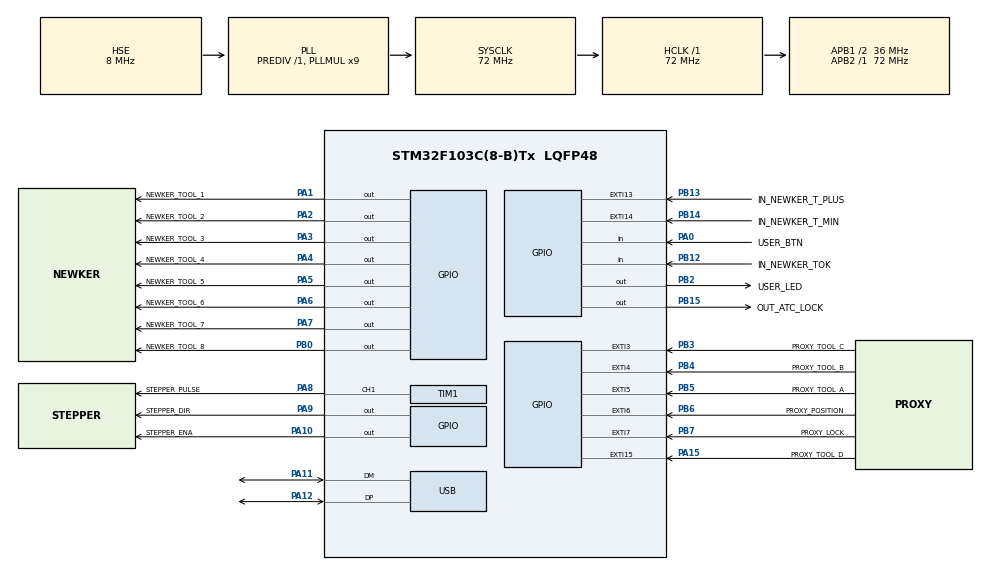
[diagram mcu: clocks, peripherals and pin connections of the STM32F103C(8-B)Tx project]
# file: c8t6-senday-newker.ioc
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Mcu.Family=STM32F1
Mcu.Name=STM32F103C(8-B)Tx
Mcu.Package=LQFP48
NVIC.EXTI15_10_IRQn=true\:0\:0\:false\:false\:true\:true\:true\:true
NVIC.EXTI3_IRQn=true\:0\:0\:false\:false\:true\:true\:true\:true
NVIC.EXTI4_IRQn=true\:0\:0\:false\:false\:true\:true\:true\:true
NVIC.EXTI9_5_IRQn=true\:0\:0\:false\:false\:true\:true\:true\:true
NVIC.PriorityGroup=NVIC_PRIORITYGROUP_4
NVIC.TIM4_IRQn=true\:15\:0\:false\:false\:true\:false\:true\:true
NVIC.TimeBase=TIM4_IRQn
NVIC.TimeBaseIP=TIM4
NVIC.USB_LP_CAN1_RX0_IRQn=true\:0\:0\:false\:false\:true\:false\:true\:true
PA0-WKUP.GPIO_Label=USER_BTN
PA0-WKUP.GPIO_PuPd=GPIO_PULLDOWN
PA0-WKUP.Signal=GPIO_Input
PA1.GPIO_Label=NEWKER_TOOL_1
PA1.Signal=GPIO_Output
PA10.GPIO_Label=STEPPER_ENA
PA10.Signal=GPIO_Output
PA11.Mode=Device
PA11.Signal=USB_DM
PA12.Mode=Device
PA12.Signal=USB_DP
PA13.Mode=Serial_Wire
PA13.Signal=SYS_JTMS-SWDIO
PA14.Mode=Serial_Wire
PA14.Signal=SYS_JTCK-SWCLK
PA15.GPIO_Label=PROXY_TOOL_D
PA15.GPIO_ModeDefaultEXTI=GPIO_MODE_IT_RISING_FALLING
PA15.GPIO_PuPd=GPIO_PULLUP
PA15.Signal=GPXTI15
PA2.GPIO_Label=NEWKER_TOOL_2
PA2.Signal=GPIO_Output
PA3.GPIO_Label=NEWKER_TOOL_3
PA3.Signal=GPIO_Output
PA4.GPIO_Label=NEWKER_TOOL_4
PA4.Signal=GPIO_Output
PA5.GPIO_Label=NEWKER_TOOL_5
PA5.Signal=GPIO_Output
PA6.GPIO_Label=NEWKER_TOOL_6
PA6.Signal=GPIO_Output
PA7.GPIO_Label=NEWKER_TOOL_7
PA7.Signal=GPIO_Output
PA8.GPIO_Label=STEPPER_PULSE
PA8.Signal=S_TIM1_CH1
PA9.GPIO_Label=STEPPER_DIR
PA9.Signal=GPIO_Output
PB0.GPIO_Label=NEWKER_TOOL_8
PB0.Signal=GPIO_Output
PB12.GPIO_Label=IN_NEWKER_TOK
PB12.GPIO_PuPd=GPIO_PULLUP
PB12.Signal=GPIO_Input
PB13.GPIO_Label=IN_NEWKER_T_PLUS
PB13.GPIO_ModeDefaultEXTI=GPIO_MODE_IT_RISING_FALLING
PB13.GPIO_PuPd=GPIO_PULLUP
PB13.Signal=GPXTI13
PB14.GPIO_Label=IN_NEWKER_T_MIN
PB14.GPIO_ModeDefaultEXTI=GPIO_MODE_IT_RISING_FALLING
PB14.GPIO_PuPd=GPIO_PULLUP
PB14.Signal=GPXTI14
PB15.GPIO_Label=OUT_ATC_LOCK
PB15.Signal=GPIO_Output
PB2.GPIO_Label=USER_LED
PB2.Signal=GPIO_Output
PB3.GPIO_Label=PROXY_TOOL_C
PB3.GPIO_ModeDefaultEXTI=GPIO_MODE_IT_RISING_FALLING
PB3.GPIO_PuPd=GPIO_PULLUP
PB3.Signal=GPXTI3
PB4.GPIO_Label=PROXY_TOOL_B
PB4.GPIO_ModeDefaultEXTI=GPIO_MODE_IT_RISING_FALLING
PB4.GPIO_PuPd=GPIO_PULLUP
PB4.Signal=GPXTI4
PB5.GPIO_Label=PROXY_TOOL_A
PB5.GPIO_ModeDefaultEXTI=GPIO_MODE_IT_RISING_FALLING
PB5.GPIO_PuPd=GPIO_PULLUP
PB5.Signal=GPXTI5
PB6.GPIO_Label=PROXY_POSITION
PB6.GPIO_ModeDefaultEXTI=GPIO_MODE_IT_RISING_FALLING
PB6.GPIO_PuPd=GPIO_PULLUP
PB6.Signal=GPXTI6
PB7.GPIO_Label=PROXY_LOCK
PB7.GPIO_ModeDefaultEXTI=GPIO_MODE_IT_RISING_FALLING
PB7.GPIO_PuPd=GPIO_PULLUP
PB7.Signal=GPXTI7
PC14-OSC32_IN.Mode=LSE-External-Oscillator
PC14-OSC32_IN.Signal=RCC_OSC32_IN
PC15-OSC32_OUT.Mode=LSE-External-Oscillator
PC15-OSC32_OUT.Signal=RCC_OSC32_OUT
PD0-OSC_IN.Mode=HSE-External-Oscillator
PD0-OSC_IN.Signal=RCC_OSC_IN
PD1-OSC_OUT.Mode=HSE-External-Oscillator
PD1-OSC_OUT.Signal=RCC_OSC_OUT
ProjectManager.HeapSize=0x200
ProjectManager.StackSize=0x400
ProjectManager.TargetToolchain=STM32CubeIDE
RCC.AHBFreq_Value=72000000
RCC.APB1CLKDivider=RCC_HCLK_DIV2
RCC.APB1Freq_Value=36000000
RCC.APB1TimFreq_Value=72000000
RCC.APB2Freq_Value=72000000
RCC.APB2TimFreq_Value=72000000
RCC.HCLKFreq_Value=72000000
RCC.PLLMUL=RCC_PLL_MUL9
RCC.SYSCLKFreq_VALUE=72000000
RCC.SYSCLKSource=RCC_SYSCLKSOURCE_PLLCLK
RCC.USBFreq_Value=48000000
RCC.USBPrescaler=RCC_USBCLKSOURCE_PLL_DIV1_5
SH.S_TIM1_CH1.0=TIM1_CH1,PWM Generation1 CH1
TIM1.AutoReloadPreload=TIM_AUTORELOAD_PRELOAD_ENABLE
TIM1.Channel-PWM\ Generation1\ CH1=TIM_CHANNEL_1
USB_DEVICE.CLASS_NAME_FS=CDC
USB_DEVICE.VirtualMode=Cdc
USB_DEVICE.VirtualModeFS=Cdc_FS
VP_SYS_VS_tim4.Mode=TIM4
VP_TIM1_VS_ClockSourceINT.Mode=Internal
VP_USB_DEVICE_VS_USB_DEVICE_CDC_FS.Mode=CDC_FS
board=custom

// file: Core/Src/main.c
/* USER CODE BEGIN Header */
/**
 ******************************************************************************
 * @file           : main.c
 * @brief          : Main program body
 ******************************************************************************
 * @attention
 *
 * Copyright (c) 2025 STMicroelectronics.
 * All rights reserved.
 *
 * This software is licensed under terms that can be found in the LICENSE file
 * in the root directory of this software component.
 * If no LICENSE file comes with this software, it is provided AS-IS.
 *
 ******************************************************************************
 */
/* USER CODE END Header */
#include "main.h"
#include "usb_device.h"

/* USER CODE BEGIN Includes */
#include <stdio.h>
#include <string.h>
#include <stdlib.h>
#include <stdbool.h>
#include <math.h>
#include <ctype.h>
#include "usbd_cdc_if.h" // Untuk CDC_Transmit_FS
/* USER CODE END Includes */

TIM_HandleTypeDef htim1;

/* USER CODE BEGIN PV */
// --- Variabel Global untuk Super-loop dan State Machine ---
// Variabel status global ATC
volatile ATCLockState_t g_atc_lock_status = ATC_LOCKED;
volatile uint8_t g_current_tool = 0;
volatile uint8_t g_target_tool = 0; // Untuk perintah 'Go to Tool'
uint8_t g_new_tool_pos;

// Variabel untuk State Machine
volatile ATC_State_t g_atc_state = ATC_STATE_IDLE;
volatile ATCRotationDirection_t g_rotation_command = ATC_NO_ROTATION;
uint32_t g_timeout_start_tick = 0;
static uint32_t pause_start_tick = 0;
static bool is_paused = false;

// Event flags dari ISR (menggantikan Semaphores)
volatile bool g_lock_event = false;
volatile bool g_position_event = false;
volatile bool g_tool_change_event = false;
uint8_t g_manual_atc = false;

/* USER CODE END PV */

void SystemClock_Config(void);
static void MX_GPIO_Init(void);
static void MX_TIM1_Init(void);
/* USER CODE BEGIN PFP */
// Fungsi-fungsi untuk ATC
static void ATC_Start_Rotation_PWM(uint16_t frequency_hz);
static void ATC_Stop_Rotation_PWM(void);
static GPIO_PinState Read_Input_Pin(GPIO_TypeDef *GPIOx, uint16_t GPIO_Pin);
static void Write_Output_Pin(GPIO_TypeDef *GPIOx, uint16_t GPIO_Pin,
                             GPIO_PinState PinState);
static uint8_t Read_Tool_Position(void);
static void Poll_Tool_Position(void);
static void Update_Newker_Tool_Output(uint8_t tool_number);
static ATCLockState_t Get_Lock_Status(void);
void ATC_Process_StateMachine(void);
/* USER CODE END PFP */

/* USER CODE BEGIN 0 */
int _write(int file, char *ptr, int len)
{
  CDC_Transmit_FS((uint8_t *)ptr, len);
  return len;
}
/* USER CODE END 0 */

int main(void)
{

  /* MCU Configuration--------------------------------------------------------*/

  /* Reset of all peripherals, Initializes the Flash interface and the Systick. */
  HAL_Init();

  /* Configure the system clock */
  SystemClock_Config();

  /* Initialize all configured peripherals */
  MX_GPIO_Init();
  MX_USB_DEVICE_Init();
  MX_TIM1_Init();
  /* USER CODE BEGIN 2 */
  HAL_Delay(1000); // Tunda sejenak agar USB siap

  Settings_Init(); // Inisialisasi pengaturan dari Flash atau gunakan default

  printf("\r\nATC Controller Ready (Super-Loop).\r\n");
  printf("Kirim '$$' untuk melihat pengaturan, '$P' untuk pinout.\r\n");

  g_atc_lock_status = Get_Lock_Status();
  g_current_tool = Read_Tool_Position();
  Update_Newker_Tool_Output(g_current_tool);
  printf("Initial state: Lock=%s, Tool=%d\r\n",
         (g_atc_lock_status == ATC_LOCKED) ? "LOCKED" : "UNLOCKED",
         g_current_tool);
  /* USER CODE END 2 */

  /* Infinite loop */
  /* USER CODE BEGIN WHILE */
  while (1)
  {
    ATC_Process_StateMachine();

    // Jalankan polling posisi tool hanya saat sistem IDLE
    if (g_atc_state == ATC_STATE_IDLE)
    {
      Poll_Tool_Position();
    }
    /* USER CODE END WHILE */

  }
}

void SystemClock_Config(void)
{
  RCC_OscInitTypeDef RCC_OscInitStruct = {0};
  RCC_ClkInitTypeDef RCC_ClkInitStruct = {0};
  RCC_PeriphCLKInitTypeDef PeriphClkInit = {0};

  /** Initializes the RCC Oscillators according to the specified parameters
   * in the RCC_OscInitTypeDef structure.
   */
  RCC_OscInitStruct.OscillatorType = RCC_OSCILLATORTYPE_HSE;
  RCC_OscInitStruct.HSEState = RCC_HSE_ON;
  RCC_OscInitStruct.HSEPredivValue = RCC_HSE_PREDIV_DIV1;
  RCC_OscInitStruct.HSIState = RCC_HSI_ON;
  RCC_OscInitStruct.PLL.PLLState = RCC_PLL_ON;
  RCC_OscInitStruct.PLL.PLLSource = RCC_PLLSOURCE_HSE;
  RCC_OscInitStruct.PLL.PLLMUL = RCC_PLL_MUL9;
  if (HAL_RCC_OscConfig(&RCC_OscInitStruct) != HAL_OK)
  {
    Error_Handler();
  }

  /** Initializes the CPU, AHB and APB buses clocks
   */
  RCC_ClkInitStruct.ClockType = RCC_CLOCKTYPE_HCLK | RCC_CLOCKTYPE_SYSCLK | RCC_CLOCKTYPE_PCLK1 | RCC_CLOCKTYPE_PCLK2;
  RCC_ClkInitStruct.SYSCLKSource = RCC_SYSCLKSOURCE_PLLCLK;
  RCC_ClkInitStruct.AHBCLKDivider = RCC_SYSCLK_DIV1;
  RCC_ClkInitStruct.APB1CLKDivider = RCC_HCLK_DIV2;
  RCC_ClkInitStruct.APB2CLKDivider = RCC_HCLK_DIV1;

  if (HAL_RCC_ClockConfig(&RCC_ClkInitStruct, FLASH_LATENCY_2) != HAL_OK)
  {
    Error_Handler();
  }
  PeriphClkInit.PeriphClockSelection = RCC_PERIPHCLK_USB;
  PeriphClkInit.UsbClockSelection = RCC_USBCLKSOURCE_PLL_DIV1_5;
  if (HAL_RCCEx_PeriphCLKConfig(&PeriphClkInit) != HAL_OK)
  {
    Error_Handler();
  }
}

static void MX_TIM1_Init(void)
{

  TIM_ClockConfigTypeDef sClockSourceConfig = {0};
  TIM_MasterConfigTypeDef sMasterConfig = {0};
  TIM_OC_InitTypeDef sConfigOC = {0};
  TIM_BreakDeadTimeConfigTypeDef sBreakDeadTimeConfig = {0};

  htim1.Instance = TIM1;
  htim1.Init.Prescaler = 0;
  htim1.Init.CounterMode = TIM_COUNTERMODE_UP;
  htim1.Init.Period = 65535;
  htim1.Init.ClockDivision = TIM_CLOCKDIVISION_DIV1;
  htim1.Init.RepetitionCounter = 0;
  htim1.Init.AutoReloadPreload = TIM_AUTORELOAD_PRELOAD_ENABLE;
  if (HAL_TIM_Base_Init(&htim1) != HAL_OK)
  {
    Error_Handler();
  }
  sClockSourceConfig.ClockSource = TIM_CLOCKSOURCE_INTERNAL;
  if (HAL_TIM_ConfigClockSource(&htim1, &sClockSourceConfig) != HAL_OK)
  {
    Error_Handler();
  }
  if (HAL_TIM_PWM_Init(&htim1) != HAL_OK)
  {
    Error_Handler();
  }
  sMasterConfig.MasterOutputTrigger = TIM_TRGO_RESET;
  sMasterConfig.MasterSlaveMode = TIM_MASTERSLAVEMODE_DISABLE;
  if (HAL_TIMEx_MasterConfigSynchronization(&htim1, &sMasterConfig) != HAL_OK)
  {
    Error_Handler();
  }
  sConfigOC.OCMode = TIM_OCMODE_PWM1;
  sConfigOC.Pulse = 0;
  sConfigOC.OCPolarity = TIM_OCPOLARITY_HIGH;
  sConfigOC.OCNPolarity = TIM_OCNPOLARITY_HIGH;
  sConfigOC.OCFastMode = TIM_OCFAST_DISABLE;
  sConfigOC.OCIdleState = TIM_OCIDLESTATE_RESET;
  sConfigOC.OCNIdleState = TIM_OCNIDLESTATE_RESET;
  if (HAL_TIM_PWM_ConfigChannel(&htim1, &sConfigOC, TIM_CHANNEL_1) != HAL_OK)
  {
    Error_Handler();
  }
  sBreakDeadTimeConfig.OffStateRunMode = TIM_OSSR_DISABLE;
  sBreakDeadTimeConfig.OffStateIDLEMode = TIM_OSSI_DISABLE;
  sBreakDeadTimeConfig.LockLevel = TIM_LOCKLEVEL_OFF;
  sBreakDeadTimeConfig.DeadTime = 0;
  sBreakDeadTimeConfig.BreakState = TIM_BREAK_DISABLE;
  sBreakDeadTimeConfig.BreakPolarity = TIM_BREAKPOLARITY_HIGH;
  sBreakDeadTimeConfig.AutomaticOutput = TIM_AUTOMATICOUTPUT_DISABLE;
  if (HAL_TIMEx_ConfigBreakDeadTime(&htim1, &sBreakDeadTimeConfig) != HAL_OK)
  {
    Error_Handler();
  }
  HAL_TIM_MspPostInit(&htim1);
}

static void MX_GPIO_Init(void)
{
  GPIO_InitTypeDef GPIO_InitStruct = {0};

  /* GPIO Ports Clock Enable */
  __HAL_RCC_GPIOC_CLK_ENABLE();
  __HAL_RCC_GPIOD_CLK_ENABLE();
  __HAL_RCC_GPIOA_CLK_ENABLE();
  __HAL_RCC_GPIOB_CLK_ENABLE();

  /*Configure GPIO pin Output Level */
  HAL_GPIO_WritePin(GPIOA,
                    NEWKER_TOOL_1_Pin | NEWKER_TOOL_2_Pin | NEWKER_TOOL_3_Pin | NEWKER_TOOL_4_Pin | NEWKER_TOOL_5_Pin | NEWKER_TOOL_6_Pin | NEWKER_TOOL_7_Pin | STEPPER_DIR_Pin | STEPPER_ENA_Pin,
                    GPIO_PIN_RESET);

  /*Configure GPIO pin Output Level */
  HAL_GPIO_WritePin(GPIOB,
                    NEWKER_TOOL_8_Pin | USER_LED_Pin | OUT_ATC_LOCK_Pin, GPIO_PIN_RESET);

  /*Configure GPIO pin : USER_BTN_Pin */
  GPIO_InitStruct.Pin = USER_BTN_Pin;
  GPIO_InitStruct.Mode = GPIO_MODE_INPUT;
  GPIO_InitStruct.Pull = GPIO_PULLDOWN;
  HAL_GPIO_Init(USER_BTN_GPIO_Port, &GPIO_InitStruct);

  /*Configure GPIO pins : NEWKER_TOOL_1_Pin NEWKER_TOOL_2_Pin NEWKER_TOOL_3_Pin NEWKER_TOOL_4_Pin
   NEWKER_TOOL_5_Pin NEWKER_TOOL_6_Pin NEWKER_TOOL_7_Pin STEPPER_DIR_Pin
   STEPPER_ENA_Pin */
  GPIO_InitStruct.Pin = NEWKER_TOOL_1_Pin | NEWKER_TOOL_2_Pin | NEWKER_TOOL_3_Pin | NEWKER_TOOL_4_Pin | NEWKER_TOOL_5_Pin | NEWKER_TOOL_6_Pin | NEWKER_TOOL_7_Pin | STEPPER_DIR_Pin | STEPPER_ENA_Pin;
  GPIO_InitStruct.Mode = GPIO_MODE_OUTPUT_PP;
  GPIO_InitStruct.Pull = GPIO_NOPULL;
  GPIO_InitStruct.Speed = GPIO_SPEED_FREQ_LOW;
  HAL_GPIO_Init(GPIOA, &GPIO_InitStruct);

  /*Configure GPIO pins : NEWKER_TOOL_8_Pin USER_LED_Pin OUT_ATC_LOCK_Pin */
  GPIO_InitStruct.Pin = NEWKER_TOOL_8_Pin | USER_LED_Pin | OUT_ATC_LOCK_Pin;
  GPIO_InitStruct.Mode = GPIO_MODE_OUTPUT_PP;
  GPIO_InitStruct.Pull = GPIO_NOPULL;
  GPIO_InitStruct.Speed = GPIO_SPEED_FREQ_LOW;
  HAL_GPIO_Init(GPIOB, &GPIO_InitStruct);

  /*Configure GPIO pin : IN_NEWKER_TOK_Pin */
  GPIO_InitStruct.Pin = IN_NEWKER_TOK_Pin;
  GPIO_InitStruct.Mode = GPIO_MODE_INPUT;
  GPIO_InitStruct.Pull = GPIO_PULLUP;
  HAL_GPIO_Init(IN_NEWKER_TOK_GPIO_Port, &GPIO_InitStruct);

  /*Configure GPIO pins : IN_NEWKER_T_PLUS_Pin IN_NEWKER_T_MIN_Pin PROXY_TOOL_C_Pin PROXY_TOOL_B_Pin
   PROXY_TOOL_A_Pin PROXY_POSITION_Pin PROXY_LOCK_Pin */
  GPIO_InitStruct.Pin = IN_NEWKER_T_PLUS_Pin | IN_NEWKER_T_MIN_Pin | PROXY_TOOL_C_Pin | PROXY_TOOL_B_Pin | PROXY_TOOL_A_Pin | PROXY_POSITION_Pin | PROXY_LOCK_Pin;
  GPIO_InitStruct.Mode = GPIO_MODE_IT_RISING_FALLING;
  GPIO_InitStruct.Pull = GPIO_PULLUP;
  HAL_GPIO_Init(GPIOB, &GPIO_InitStruct);

  /*Configure GPIO pin : PROXY_TOOL_D_Pin */
  GPIO_InitStruct.Pin = PROXY_TOOL_D_Pin;
  GPIO_InitStruct.Mode = GPIO_MODE_IT_RISING_FALLING;
  GPIO_InitStruct.Pull = GPIO_PULLUP;
  HAL_GPIO_Init(PROXY_TOOL_D_GPIO_Port, &GPIO_InitStruct);

  /* EXTI interrupt init*/
  HAL_NVIC_SetPriority(EXTI3_IRQn, 0, 0);
  HAL_NVIC_EnableIRQ(EXTI3_IRQn);

  HAL_NVIC_SetPriority(EXTI4_IRQn, 0, 0);
  HAL_NVIC_EnableIRQ(EXTI4_IRQn);

  HAL_NVIC_SetPriority(EXTI9_5_IRQn, 0, 0);
  HAL_NVIC_EnableIRQ(EXTI9_5_IRQn);

  HAL_NVIC_SetPriority(EXTI15_10_IRQn, 0, 0);
  HAL_NVIC_EnableIRQ(EXTI15_10_IRQn);

}

/* USER CODE BEGIN 4 */

void Process_Serial_Command(uint8_t *buf, uint32_t len)
{
  if (len == 0)
    return;

  // Ubah perintah menjadi huruf besar untuk konsistensi
  for (uint32_t i = 0; i < len; i++)
  {
    buf[i] = toupper(buf[i]);
  }

  char cmd_buffer[32];
  uint32_t copy_len = len < 31 ? len : 31;
  strncpy(cmd_buffer, (char *)buf, copy_len);
  cmd_buffer[copy_len] = '\0';

  // Perintah Pengaturan ($)
  if (cmd_buffer[0] == '$')
  {
    if (strncmp(cmd_buffer, "$$", 2) == 0)
    {
      Print_Settings();
    }
    else if (strncmp(cmd_buffer, "$P", 2) == 0)
    {
      Print_Pins();
    }
    else
    {
      int setting_num = 0, value = 0;
      if (sscanf(cmd_buffer, "$%d=%d", &setting_num, &value) == 2)
      {
        bool changed = true;
        switch (setting_num)
        {
        case 1:
          g_settings.invert_input = (value != 0);
          break;
        case 2:
          g_settings.invert_output = (value != 0);
          break;
        case 3:
          g_settings.invert_direction = (value != 0);
          break;
        case 5:
          g_settings.invert_enable = (value != 0);
          break;
        case 6:
          g_settings.stepper_speed_hz = value;
          break;
        case 7:
          g_settings.timeout_ms = value;
          break;
        case 8:
          g_settings.timeout_enabled = (value != 0);
          break;
        case 9:
          g_settings.pause_ms = value;
          break;
        default:
          changed = false;
          printf("Error: Unknown setting $%d\r\n", setting_num);
          break;
        }
        if (changed)
        {
          if (Flash_Write_Settings() == HAL_OK)
          {
            printf("[OK] Setting $%d changed to %d and saved.\r\n", setting_num, value);
          }
          else
          {
            printf("Error: Failed to save settings to Flash!\r\n");
          }
        }
      }
    }
  }
  // Perintah Ganti Tool (T#)
  else if (cmd_buffer[0] == 'T')
  {
    int tool_num = 0;
    if (sscanf(cmd_buffer, "T%d", &tool_num) == 1)
    {
      if (tool_num >= 1 && tool_num <= 8)
      {
        g_manual_atc = true;
        ATC_GoToTool(tool_num);
      }
      else
      {
        printf("Error: Invalid tool number. Must be 1-8.\r\n");
      }
    }
  }
  // Perintah Manual Satu Huruf
  else if (len == 1)
  {
    switch (cmd_buffer[0])
    {
    case 'A':
      ATC_Rotate(ATC_CW, ATC_ROTATION_MANUAL);
      break;
    case 'B':
      ATC_Rotate(ATC_CCW, ATC_ROTATION_MANUAL);
      break;
    case 'C':
      ATC_Stop();
      break;
    case 'L':
      ATC_Manual_Lock();
      break;
    case 'U':
      ATC_Manual_Unlock();
      break;
    default:
      printf("Error: Unknown command '%c'\r\n", cmd_buffer[0]);
      break;
    }
  }
  else
  {
    printf("Error: Unknown command format.\r\n");
  }
}

/**
 * @brief  Secara berkala memeriksa posisi tool dan melaporkan jika ada perubahan.
 */
static void Poll_Tool_Position(void)
{
  static uint8_t last_reported_tool = 0;

  // Untuk mencegah pembacaan yang terlalu cepat, bisa ditambahkan delay kecil
  // atau menggunakan timer jika diperlukan, namun untuk polling sederhana ini cukup.

  g_current_tool = Read_Tool_Position();
  printf("Position Updated -> Tool: %d\r\n", g_current_tool);
  HAL_Delay(500);

  // if (g_new_tool_pos != last_reported_tool)
  // {
  //   g_current_tool = g_new_tool_pos;
  //   Update_Newker_Tool_Output(g_current_tool);
  //   printf("Position Updated -> Tool: %d\r\n", g_current_tool);
  //   last_reported_tool = g_current_tool;
  // }
}
// --- Implementasi Fungsi Kontrol Manual ---
void ATC_Rotate(ATCRotationDirection_t direction, ATCRotationMode_t mode)
{
  if (g_atc_state != ATC_STATE_IDLE && mode == ATC_ROTATION_MANUAL)
  {
    printf("Error: ATC is busy. Cannot start manual rotation.\r\n");
    return;
  }

  if (g_atc_lock_status == ATC_LOCKED)
  {
    printf("Error: ATC is locked. Unlock first with 'U'.\r\n");
    return;
  }
  printf("Manual Rotate: %s\r\n", (direction == ATC_CW) ? "CW" : "CCW");
  GPIO_PinState dir_state =
      (direction == ATC_CW) ? GPIO_PIN_SET : GPIO_PIN_RESET;
  HAL_GPIO_WritePin(STEPPER_DIR_GPIO_Port, STEPPER_DIR_Pin,
                    g_settings.invert_direction ? !dir_state : dir_state);
  HAL_GPIO_WritePin(STEPPER_ENA_GPIO_Port, STEPPER_ENA_Pin,
                    g_settings.invert_enable ? GPIO_PIN_SET : GPIO_PIN_RESET);
  ATC_Start_Rotation_PWM(g_settings.stepper_speed_hz);
}

void ATC_Stop(void)
{
  printf("Manual Stop\r\n");
  ATC_Stop_Rotation_PWM();
  HAL_GPIO_WritePin(STEPPER_ENA_GPIO_Port, STEPPER_ENA_Pin,
                    g_settings.invert_enable ? GPIO_PIN_RESET : GPIO_PIN_SET);
}

void ATC_Manual_Unlock(void)
{
  if (g_atc_state != ATC_STATE_IDLE)
  {
    printf("Error: ATC is busy.\r\n");
    return;
  }
  printf("Manual Unlock...\r\n");
  Write_Output_Pin(OUT_ATC_LOCK_GPIO_Port, OUT_ATC_LOCK_Pin, GPIO_PIN_SET);
  g_lock_event = false; // Set event flag untuk menunggu lock
  g_timeout_start_tick = HAL_GetTick();
  g_atc_state = ATC_STATE_MANUAL_UNLOCK_WAIT;
}

void ATC_Manual_Lock(void)
{
  if (g_atc_state != ATC_STATE_IDLE)
  {
    printf("Error: ATC is busy.\r\n");
    return;
  }
  printf("Manual Lock...\r\n");
  Write_Output_Pin(OUT_ATC_LOCK_GPIO_Port, OUT_ATC_LOCK_Pin, GPIO_PIN_RESET);
  g_lock_event = false;
  g_timeout_start_tick = HAL_GetTick();
  g_atc_state = ATC_STATE_MANUAL_LOCK_WAIT;
}

void ATC_GoToTool(uint8_t target_tool)
{
  if (g_atc_state != ATC_STATE_IDLE)
  {
    printf("Error: ATC is busy.\r\n");
    return;
  }
  if (target_tool == g_current_tool)
  {
    printf("Already at tool %d.\r\n", target_tool);
    return;
  }
  g_target_tool = target_tool;
  g_atc_state = ATC_STATE_GOTO_START;
}

/**
 * @brief Fungsi utama yang menjalankan state machine ATC.
 */

void ATC_Process_StateMachine(void)
{
  // Cek timeout untuk state yang menunggu event, jika diaktifkan
  if (g_settings.timeout_enabled && (g_atc_state == ATC_STATE_AUTO_UNLOCK_WAIT || g_atc_state == ATC_STATE_AUTO_ROTATING_WAIT || g_atc_state == ATC_STATE_AUTO_LOCK_WAIT || g_atc_state == ATC_STATE_MANUAL_LOCK_WAIT || g_atc_state == ATC_STATE_MANUAL_UNLOCK_WAIT))
  {
    if ((HAL_GetTick() - g_timeout_start_tick) > g_settings.timeout_ms)
    {
      printf("Error: Timeout in state %d\r\n", g_atc_state);
      ATC_Stop();
      Write_Output_Pin(OUT_ATC_LOCK_GPIO_Port, OUT_ATC_LOCK_Pin, GPIO_PIN_RESET);
      g_atc_state = ATC_STATE_TIMEOUT_ERROR;
    }
  }

  switch (g_atc_state)
  {
  case ATC_STATE_IDLE:
    if (g_rotation_command != ATC_NO_ROTATION)
    {
      g_atc_state = ATC_STATE_AUTO_UNLOCK_START;
    }
    break;

    // --- Siklus Otomatis (dari input pin) ---
  case ATC_STATE_AUTO_UNLOCK_START:
    printf("Auto-cycle: Unlocking...\r\n");
    Write_Output_Pin(OUT_ATC_LOCK_GPIO_Port, OUT_ATC_LOCK_Pin, GPIO_PIN_SET);
    g_lock_event = false;
    g_timeout_start_tick = HAL_GetTick();
    g_atc_state = ATC_STATE_AUTO_UNLOCK_WAIT;
    break;

  case ATC_STATE_AUTO_UNLOCK_WAIT:
    if (g_lock_event)
    {
      g_lock_event = false;
      g_atc_lock_status = ATC_UNLOCKED;
      g_atc_state = ATC_STATE_AUTO_ROTATING_START;
    }
    break;

  case ATC_STATE_AUTO_ROTATING_START:
    ATC_Rotate(g_rotation_command, ATC_ROTATION_AUTO);
    g_tool_change_event = false; // Reset event flag
    printf("Auto-cycle: Rotating %s...\r\n", (g_rotation_command == ATC_CW) ? "CW" : "CCW");
    g_timeout_start_tick = HAL_GetTick();
    g_atc_state = ATC_STATE_AUTO_ROTATING_WAIT;
    break;

  case ATC_STATE_AUTO_ROTATING_WAIT:
    // static uint32_t pause_start_tick = 0;
    // static bool is_paused = false;

    // Deteksi perubahan tool (proxy A-D) jika tidak sedang pause
    if (!g_manual_atc && !is_paused) // jika manual atc (t+ dan t- ditekan)
    {
      ATC_Start_Rotation_PWM(g_settings.stepper_speed_hz); // Lanjutkan rotasi manual
      printf("manual cycle, current tool is %d.\r\n", g_current_tool);
    }
    else if (g_tool_change_event && !is_paused) // jika tidak manual atc, bearti dari perintah serial monitor
    {
      g_current_tool = Read_Tool_Position();
      Update_Newker_Tool_Output(g_current_tool);

      if (g_current_tool == g_target_tool && g_position_event) // jika sudah mencapai tool targert
      {
        ATC_Stop();
        printf("Auto-cycle: Reached target tool %d.\r\n", g_target_tool);
        g_rotation_command = ATC_NO_ROTATION;
        g_atc_state = ATC_STATE_AUTO_LOCK_START;
      }
      else // jika belum sampai tool target
      {
        ATC_Start_Rotation_PWM(g_settings.stepper_speed_hz);
        printf("Auto-cycle: Did not reach target tool %d, current tool is %d.\r\n", g_target_tool, g_current_tool);
      }
    }

    // cek t+ dan t- untuk memberhentikan atc dari sinyal newker jika tidak manual atc
    if ((Read_Input_Pin(IN_NEWKER_T_PLUS_GPIO_Port, IN_NEWKER_T_PLUS_Pin) == GPIO_PIN_SET) == (Read_Input_Pin(IN_NEWKER_T_MIN_GPIO_Port, IN_NEWKER_T_MIN_Pin) == GPIO_PIN_SET) && !g_manual_atc)
    {
      printf("Auto-cycle: Newker T+ and T- low detected, stopping rotation.\r\n");
      ATC_Stop_Rotation_PWM();
      g_rotation_command = ATC_NO_ROTATION;
      g_atc_state = ATC_STATE_AUTO_LOCK_START; // Langsung ke lock
      break;
    }

    // Cek PROXY_POSITION_Pin, jika rising edge maka pause stepper
    if (g_position_event && !is_paused)
    {
      printf("Auto-cycle: PROXY_POSITION high, pause stepper.\r\n");
      ATC_Stop_Rotation_PWM();
      pause_start_tick = HAL_GetTick();
      is_paused = true;
    }

    // Cek apakah sedang pause karena PROXY_POSITION_Pin high
    if (is_paused)
    {
      if ((HAL_GetTick() - pause_start_tick) >= g_settings.pause_ms) // g_settings.pause_ms = $9
      {
        // Waktu pause selesai, lanjutkan rotasi
        printf("Auto-cycle: Pause selesai, lanjutkan rotasi.\r\n");
        ATC_Start_Rotation_PWM(g_settings.stepper_speed_hz);
        is_paused = false;
        g_position_event = false; // Reset event flag
      }
      break;
    }
    break;

  case ATC_STATE_AUTO_LOCK_START:
    g_tool_change_event = false; // Reset event flag
    printf("Auto-cycle: Locking...\r\n");
    Write_Output_Pin(OUT_ATC_LOCK_GPIO_Port, OUT_ATC_LOCK_Pin, GPIO_PIN_RESET);
    g_lock_event = false;
    g_timeout_start_tick = HAL_GetTick();
    g_atc_state = ATC_STATE_AUTO_LOCK_WAIT;
    break;

  case ATC_STATE_AUTO_LOCK_WAIT:
    if (g_lock_event)
    {
      g_lock_event = false;
      g_atc_lock_status = ATC_LOCKED;
      printf("Auto-cycle: Complete.\r\n");
      g_atc_state = ATC_STATE_IDLE;
    }
    break;

    // --- Siklus Go To Tool (dari serial) ---
  case ATC_STATE_GOTO_START:
    if (g_current_tool == g_target_tool)
    {
      printf("GoTo: Already at tool %d.\r\n", g_target_tool);
      g_atc_state = ATC_STATE_IDLE;
      break;
    }
    printf("GoTo: Moving to tool %d\r\n", g_target_tool);
    // Tentukan arah putaran terdekat
    int diff = g_target_tool - g_current_tool;
    if (abs(diff) <= 4)
    { // 8 total tools / 2
      g_rotation_command = (diff > 0) ? ATC_CW : ATC_CCW;
    }
    else
    {
      g_rotation_command = (diff > 0) ? ATC_CCW : ATC_CW;
    }
    g_atc_state = ATC_STATE_AUTO_UNLOCK_START; // Memulai siklus otomatis
    break;

    // --- State Tunggu Manual ---
  case ATC_STATE_MANUAL_UNLOCK_WAIT:
    if (g_lock_event)
    {
      g_lock_event = false;
      g_atc_lock_status = ATC_UNLOCKED;
      printf("Manual Unlock successful.\r\n");
      g_atc_state = ATC_STATE_IDLE;
    }
    break;

  case ATC_STATE_MANUAL_LOCK_WAIT:
    if (g_lock_event)
    {
      g_lock_event = false;
      g_atc_lock_status = ATC_LOCKED;
      printf("Manual Lock successful.\r\n");
      g_atc_state = ATC_STATE_IDLE;
    }
    break;

  case ATC_STATE_TIMEOUT_ERROR:
    printf("Error state. Resetting to Idle in 2 seconds...\r\n");
    g_rotation_command = ATC_NO_ROTATION;
    HAL_Delay(2000);
    g_atc_state = ATC_STATE_IDLE;
    break;
  }
}

static void ATC_Start_Rotation_PWM(uint16_t frequency_hz)
{
  if (frequency_hz == 0)
    return;
  uint32_t tim_clock = HAL_RCC_GetPCLK2Freq();
  uint32_t prescaler = (tim_clock / (frequency_hz * 2000UL)) - 1;
  if (prescaler > 65535)
    prescaler = 65535;
  uint32_t period = (tim_clock / (frequency_hz * (prescaler + 1))) - 1;
  if (period > 65535)
    period = 65535;
  __HAL_TIM_SET_PRESCALER(&htim1, prescaler);
  __HAL_TIM_SET_AUTORELOAD(&htim1, period);
  __HAL_TIM_SET_COMPARE(&htim1, TIM_CHANNEL_1, period / 2);
  HAL_TIM_PWM_Start(&htim1, TIM_CHANNEL_1);
}

static void ATC_Stop_Rotation_PWM(void)
{
  HAL_TIM_PWM_Stop(&htim1, TIM_CHANNEL_1);
}

static GPIO_PinState Read_Input_Pin(GPIO_TypeDef *GPIOx, uint16_t GPIO_Pin)
{
  GPIO_PinState state = HAL_GPIO_ReadPin(GPIOx, GPIO_Pin);
  return g_settings.invert_input ? !state : state;
}

static void Write_Output_Pin(GPIO_TypeDef *GPIOx, uint16_t GPIO_Pin,
                             GPIO_PinState PinState)
{
  HAL_GPIO_WritePin(GPIOx, GPIO_Pin,
                    g_settings.invert_output ? !PinState : PinState);
}

static uint8_t Read_Tool_Position(void)
{
  static uint8_t last_tool = 1; // Default ke 1 pada awal boot
  bool a = Read_Input_Pin(PROXY_TOOL_A_GPIO_Port, PROXY_TOOL_A_Pin) == GPIO_PIN_RESET;
  bool b = Read_Input_Pin(PROXY_TOOL_B_GPIO_Port, PROXY_TOOL_B_Pin) == GPIO_PIN_RESET;
  bool c = Read_Input_Pin(PROXY_TOOL_C_GPIO_Port, PROXY_TOOL_C_Pin) == GPIO_PIN_RESET;
  bool d = Read_Input_Pin(PROXY_TOOL_D_GPIO_Port, PROXY_TOOL_D_Pin) == GPIO_PIN_RESET;
  uint8_t tool = last_tool;

  if (!a && b && !c && !d)
    tool = 1;
  else if (a && !b && !c && !d)
    tool = 2;
  else if (!a && !b && !c && d)
    tool = 3;
  else if (!a && !b && c && !d)
    tool = 4;
  else if (!a && b && c && d)
    tool = 5;
  else if (a && !b && c && d)
    tool = 6;
  else if (a && b && !c && d)
    tool = 7;
  else if (a && b && c && !d)
    tool = 8;
  // Jika tidak cocok, tool tetap last_tool

  last_tool = tool;
  return tool;
}

static void Update_Newker_Tool_Output(uint8_t tool_number)
{
  Write_Output_Pin(NEWKER_TOOL_1_GPIO_Port, NEWKER_TOOL_1_Pin, GPIO_PIN_RESET);
  Write_Output_Pin(NEWKER_TOOL_2_GPIO_Port, NEWKER_TOOL_2_Pin, GPIO_PIN_RESET);
  Write_Output_Pin(NEWKER_TOOL_3_GPIO_Port, NEWKER_TOOL_3_Pin, GPIO_PIN_RESET);
  Write_Output_Pin(NEWKER_TOOL_4_GPIO_Port, NEWKER_TOOL_4_Pin, GPIO_PIN_RESET);
  Write_Output_Pin(NEWKER_TOOL_5_GPIO_Port, NEWKER_TOOL_5_Pin, GPIO_PIN_RESET);
  Write_Output_Pin(NEWKER_TOOL_6_GPIO_Port, NEWKER_TOOL_6_Pin, GPIO_PIN_RESET);
  Write_Output_Pin(NEWKER_TOOL_7_GPIO_Port, NEWKER_TOOL_7_Pin, GPIO_PIN_RESET);
  Write_Output_Pin(NEWKER_TOOL_8_GPIO_Port, NEWKER_TOOL_8_Pin, GPIO_PIN_RESET);

  switch (tool_number)
  {
  case 1:
    Write_Output_Pin(NEWKER_TOOL_1_GPIO_Port, NEWKER_TOOL_1_Pin, GPIO_PIN_SET);
    break;
  case 2:
    Write_Output_Pin(NEWKER_TOOL_2_GPIO_Port, NEWKER_TOOL_2_Pin, GPIO_PIN_SET);
    break;
  case 3:
    Write_Output_Pin(NEWKER_TOOL_3_GPIO_Port, NEWKER_TOOL_3_Pin, GPIO_PIN_SET);
    break;
  case 4:
    Write_Output_Pin(NEWKER_TOOL_4_GPIO_Port, NEWKER_TOOL_4_Pin, GPIO_PIN_SET);
    break;
  case 5:
    Write_Output_Pin(NEWKER_TOOL_5_GPIO_Port, NEWKER_TOOL_5_Pin, GPIO_PIN_SET);
    break;
  case 6:
    Write_Output_Pin(NEWKER_TOOL_6_GPIO_Port, NEWKER_TOOL_6_Pin, GPIO_PIN_SET);
    break;
  case 7:
    Write_Output_Pin(NEWKER_TOOL_7_GPIO_Port, NEWKER_TOOL_7_Pin, GPIO_PIN_SET);
    break;
  case 8:
    Write_Output_Pin(NEWKER_TOOL_8_GPIO_Port, NEWKER_TOOL_8_Pin, GPIO_PIN_SET);
    break;
  default:
    break;
  }
}

static ATCLockState_t Get_Lock_Status(void)
{
  return (Read_Input_Pin(PROXY_LOCK_GPIO_Port, PROXY_LOCK_Pin) == GPIO_PIN_SET) ? ATC_LOCKED : ATC_UNLOCKED;
}

void HAL_GPIO_EXTI_Callback(uint16_t GPIO_Pin)
{
  switch (GPIO_Pin)
  {
  case IN_NEWKER_T_MIN_Pin:
    if (HAL_GPIO_ReadPin(IN_NEWKER_T_MIN_GPIO_Port, GPIO_Pin) == GPIO_PIN_RESET)
    {
      g_manual_atc = false; // manual mode, berarti dari serial monitor
      if (g_atc_state == ATC_STATE_IDLE)
        g_rotation_command = ATC_CW;
    }
    break;
  case IN_NEWKER_T_PLUS_Pin:
    if (HAL_GPIO_ReadPin(IN_NEWKER_T_PLUS_GPIO_Port, GPIO_Pin) == GPIO_PIN_RESET)
    {
      g_manual_atc = false;
      if (g_atc_state == ATC_STATE_IDLE)
        g_rotation_command = ATC_CCW;
    }
    break;
  case PROXY_LOCK_Pin:
    if (HAL_GPIO_ReadPin(PROXY_LOCK_GPIO_Port, GPIO_Pin) == GPIO_PIN_RESET)
    {
      g_atc_lock_status = ATC_LOCKED;
      g_lock_event = true;
    }
    else
    {
      g_atc_lock_status = ATC_UNLOCKED;
      g_lock_event = false;
    }
    break;
  case PROXY_POSITION_Pin:
    if (HAL_GPIO_ReadPin(PROXY_POSITION_GPIO_Port, GPIO_Pin) == GPIO_PIN_RESET)
      g_position_event = true;
    else
      g_position_event = false;
    break;
  case PROXY_TOOL_A_Pin:
  case PROXY_TOOL_B_Pin:
  case PROXY_TOOL_C_Pin:
  case PROXY_TOOL_D_Pin:
    g_tool_change_event = true;
    break;
  }
}

/* USER CODE END 4 */

void HAL_TIM_PeriodElapsedCallback(TIM_HandleTypeDef *htim)
{
  if (htim->Instance == TIM4)
  {
    HAL_IncTick();
  }
}

void Error_Handler(void)
{
  /* USER CODE BEGIN Error_Handler_Debug */
  /* User can add his own implementation to report the HAL error return state */
  __disable_irq();
  while (1)
  {
    HAL_GPIO_TogglePin(USER_LED_GPIO_Port, USER_LED_Pin);
    HAL_Delay(100);
  }
  /* USER CODE END Error_Handler_Debug */
}
